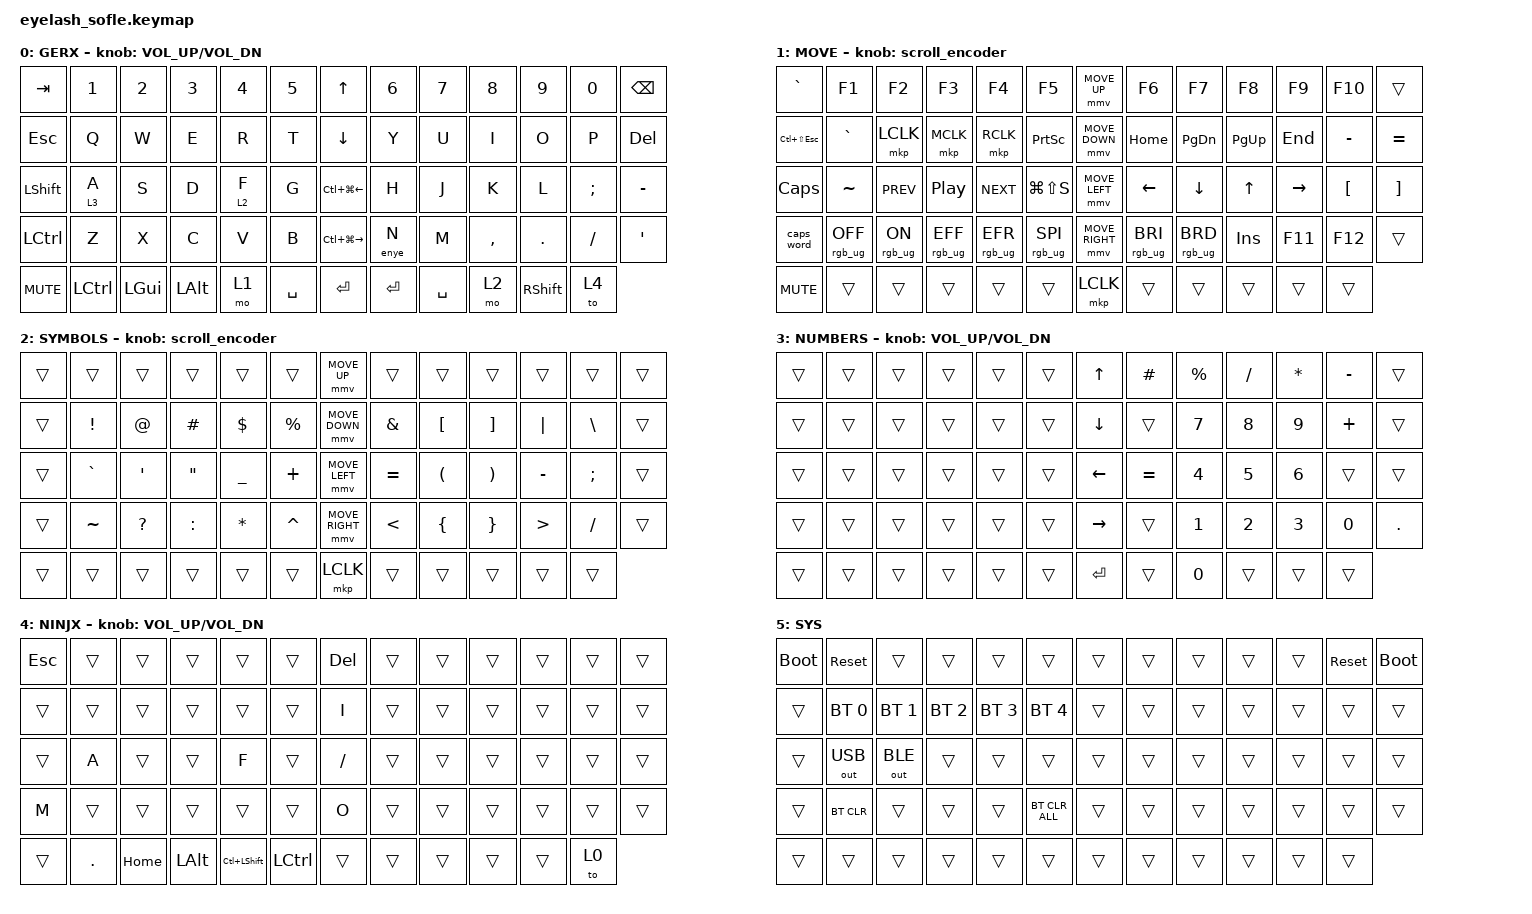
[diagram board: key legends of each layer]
#define ZMK_POINTING_DEFAULT_MOVE_VAL 1200  // 600
#define ZMK_POINTING_DEFAULT_SCRL_VAL 25   // 10

#include <input/processors.dtsi>
#include <zephyr/dt-bindings/input/input-event-codes.h>
#include <behaviors.dtsi>
#include <dt-bindings/zmk/bt.h>
#include <dt-bindings/zmk/keys.h>
#include <dt-bindings/zmk/outputs.h>
#include <dt-bindings/zmk/pointing.h>
#include <dt-bindings/zmk/rgb.h>

&mmv_input_listener { input-processors = <&zip_xy_scaler 2 1>; };

&msc_input_listener { input-processors = <&zip_scroll_scaler 2 1>; };

&msc {
    acceleration-exponent = <1>;      // 0
    time-to-max-speed-ms = <100>;     // 300
    delay-ms = <0>;                   // 0
};

&mmv {
    time-to-max-speed-ms = <500>;
    acceleration-exponent = <1>;
    trigger-period-ms = <16>;
};

&soft_off { hold-time-ms = <2000>; };

// Layer-taps en A y F: evita activar la capa al escribir rápido ("for" -> "f'r").
// Solo se activa la capa si la otra tecla es de la mano derecha (o un pulgar derecho):
// rodar "fa", "df", "as" con la misma mano siempre da letras. Útil en Neovim (f, a, A...).
&lt {
    flavor = "balanced";
    tapping-term-ms = <200>;
    quick-tap-ms = <150>;
    require-prior-idle-ms = <125>;
    hold-trigger-key-positions = <
         7  8  9 10 11 12
        20 21 22 23 24 25
        33 34 35 36 37 38
        46 47 48 49 50 51
        59 60 61 62 63
    >;
};

/ {
    scroll_encoder: scroll_encoder {
        compatible = "zmk,behavior-sensor-rotate";
        #sensor-binding-cells = <0>;
        bindings = <&msc SCRL_DOWN>, <&msc SCRL_UP>;

        tap-ms = <100>;
    };

    macros {
        // ñ en Windows con teclado English (US): Alt + 0241 en el keypad.
        // Requiere Num Lock ENCENDIDO: si está apagado, KP_N4 se vuelve "flecha izquierda"
        // y Alt+Izquierda hace "Atrás" en el navegador.
        enye: enye {
            compatible = "zmk,behavior-macro";
            #binding-cells = <0>;
            tap-ms = <30>;
            wait-ms = <20>;
            bindings
                = <&macro_press &kp LALT>
                , <&macro_tap &kp KP_N0 &kp KP_N2 &kp KP_N4 &kp KP_N1>
                , <&macro_release &kp LALT>
                ;
        };
    };

    behaviors {
        // Tocar = n | mantener = ñ. Escribir "nn" rápido (o n n en Neovim) siempre da n.
        n_enye: n_enye {
            compatible = "zmk,behavior-hold-tap";
            #binding-cells = <2>;
            flavor = "tap-preferred";
            tapping-term-ms = <200>;
            quick-tap-ms = <175>;
            bindings = <&enye>, <&kp>;
        };
    };

    // Mantener MOVE (pulgar izq.) + SYMBOLS (pulgar der.) activa SYS: Bluetooth, salida, reset, bootloader.
    conditional_layers {
        compatible = "zmk,conditional-layers";

        sys {
            if-layers = <1 2>;
            then-layer = <5>;
        };
    };

    combos {
        compatible = "zmk,combos";

        softoff {
            bindings = <&soft_off>;
            key-positions = <14 28 40>;
        };
    };

    keymap {
        compatible = "zmk,keymap";

        layer0 {
            bindings = <
&kp TAB     &kp N1     &kp N2        &kp N3        &kp N4   &kp N5                                         &kp UP_ARROW                                        &kp N6            &kp N7     &kp N8     &kp N9           &kp N0      &kp BACKSPACE
&kp ESC     &kp Q      &kp W         &kp E         &kp R    &kp T                                          &kp DOWN_ARROW                                      &kp Y             &kp U      &kp I      &kp O            &kp P       &kp DELETE
&kp LSHFT   &lt 3 A    &kp S         &kp D         &lt 2 F  &kp G                                          &kp LC(LG(LEFT))                                     &kp H             &kp J      &kp K      &kp L            &kp SEMI    &kp MINUS
&kp LCTRL   &kp Z      &kp X         &kp C         &kp V    &kp B                                          &kp LC(LG(RIGHT))                                    &n_enye 0 N      &kp M      &kp COMMA  &kp DOT          &kp FSLH    &kp SINGLE_QUOTE
&kp C_MUTE  &kp LCTRL  &kp LEFT_GUI  &kp LEFT_ALT  &mo 1    &kp SPACE                                      &kp ENTER                                           &kp ENTER         &kp SPACE  &mo 2      &kp RIGHT_SHIFT  &to 4
            >;

            sensor-bindings = <&inc_dec_kp C_VOLUME_UP C_VOL_DN>;
            display-name = "GERX";
        };

        layer_1 {
            bindings = <
&kp GRAVE   &kp F1           &kp F2          &kp F3           &kp F4           &kp F5                    &mmv MOVE_UP                                         &kp F6           &kp F7           &kp F8          &kp F9            &kp F10           &trans
&kp LC(LS(ESC))  &kp GRAVE   &mkp LCLK       &mkp MCLK        &mkp RCLK        &kp PSCRN                 &mmv MOVE_DOWN                                       &kp HOME         &kp PG_DN        &kp PG_UP       &kp END           &kp MINUS         &kp EQUAL
&kp CAPS    &kp TILDE        &kp C_PREV      &kp C_PP         &kp C_NEXT       &kp LG(LS(S))             &mmv MOVE_LEFT                                       &kp LEFT_ARROW   &kp DOWN_ARROW   &kp UP_ARROW    &kp RIGHT_ARROW   &kp LEFT_BRACKET  &kp RIGHT_BRACKET
&caps_word  &rgb_ug RGB_OFF  &rgb_ug RGB_ON  &rgb_ug RGB_EFF  &rgb_ug RGB_EFR  &rgb_ug RGB_SPI           &mmv MOVE_RIGHT                                      &rgb_ug RGB_BRI  &rgb_ug RGB_BRD  &kp INSERT      &kp F11           &kp F12           &trans
&kp C_MUTE  &trans           &trans          &trans           &trans           &trans                    &mkp LCLK                                            &trans           &trans           &trans          &trans            &trans
            >;

            display-name = "MOVE";
            sensor-bindings = <&scroll_encoder>;
        };

        // Misma distribución que la capa SYM del Dactyl.
        // Lado izq. con el pulgar derecho (mo 2); lado der. manteniendo F.
        layer_2 {
            bindings = <
&trans     &trans        &trans        &trans        &trans        &trans                           &mmv MOVE_UP                                       &trans      &trans      &trans      &trans      &trans      &trans
&trans     &kp EXCL      &kp AT        &kp HASH      &kp DOLLAR    &kp PERCENT                      &mmv MOVE_DOWN                                     &kp AMPS    &kp LBKT    &kp RBKT    &kp PIPE    &kp BSLH    &trans
&trans     &kp GRAVE     &kp SQT       &kp DQT       &kp UNDER     &kp PLUS                         &mmv MOVE_LEFT                                     &kp EQUAL   &kp LPAR    &kp RPAR    &kp MINUS   &kp SEMI    &trans
&trans     &kp TILDE     &kp QMARK     &kp COLON     &kp ASTRK     &kp CARET                        &mmv MOVE_RIGHT                                    &kp LT      &kp LBRC    &kp RBRC    &kp GT      &kp FSLH    &trans
&trans     &trans        &trans        &trans        &trans        &trans                           &mkp LCLK                                          &trans      &trans      &trans      &trans      &trans
            >;

            display-name = "SYMBOLS";
            sensor-bindings = <&scroll_encoder>;
        };

        layer_3 {
            bindings = <
&trans      &trans     &trans        &trans        &trans             &trans                                    &kp UP_ARROW                                        &kp HASH        &kp PERCENT   &kp SLASH    &kp ASTERISK    &kp MINUS        &trans
&trans      &trans     &trans        &trans        &trans             &trans                                    &kp DOWN_ARROW                                      &trans          &kp N7        &kp N8       &kp N9          &kp PLUS         &trans
&trans      &trans     &trans        &trans        &trans             &trans                                    &kp LEFT_ARROW                                      &kp EQUAL       &kp N4        &kp N5       &kp N6          &trans           &trans
&trans      &trans     &trans        &trans        &trans             &trans                                    &kp RIGHT_ARROW                                     &trans          &kp N1        &kp N2       &kp N3          &kp N0           &kp DOT
&trans      &trans     &trans        &trans        &trans             &trans                                    &kp ENTER                                           &trans          &kp N0        &trans       &trans          &trans
            >;

            sensor-bindings = <&inc_dec_kp C_VOLUME_UP C_VOL_DN>;
            display-name = "NUMBERS";
        };

        layer_4 {
            bindings = <
&kp ESC     &trans     &trans        &trans        &trans         &trans                                   &kp DELETE                                          &trans            &trans     &trans     &trans           &trans      &trans
&trans      &trans     &trans        &trans        &trans         &trans                                   &kp I                                               &trans            &trans     &trans     &trans           &trans      &trans
&trans      &kp A      &trans        &trans        &kp F          &trans                                   &kp FSLH                                            &trans            &trans     &trans     &trans           &trans      &trans
&kp M       &trans     &trans        &trans        &trans         &trans                                   &kp O                                               &trans            &trans     &trans     &trans           &trans      &trans
&trans      &kp DOT    &kp HOME      &kp LEFT_ALT  &kp LC(LSHFT)  &kp LCTRL                                &trans                                              &trans            &trans     &trans     &trans           &to 0
            >;

            sensor-bindings = <&inc_dec_kp C_VOLUME_UP C_VOL_DN>;
            display-name = "NINJX";
        };

        layer_5 {
            bindings = <
&bootloader  &sys_reset    &trans        &trans        &trans        &trans                         &trans                                             &trans      &trans      &trans      &trans      &sys_reset  &bootloader
&trans       &bt BT_SEL 0  &bt BT_SEL 1  &bt BT_SEL 2  &bt BT_SEL 3  &bt BT_SEL 4                   &trans                                             &trans      &trans      &trans      &trans      &trans      &trans
&trans       &out OUT_USB  &out OUT_BLE  &trans        &trans        &trans                         &trans                                             &trans      &trans      &trans      &trans      &trans      &trans
&trans       &bt BT_CLR    &trans        &trans        &trans        &bt BT_CLR_ALL                 &trans                                             &trans      &trans      &trans      &trans      &trans      &trans
&trans       &trans        &trans        &trans        &trans        &trans                         &trans                                             &trans      &trans      &trans      &trans      &trans
            >;

            display-name = "SYS";
        };
    };
};
